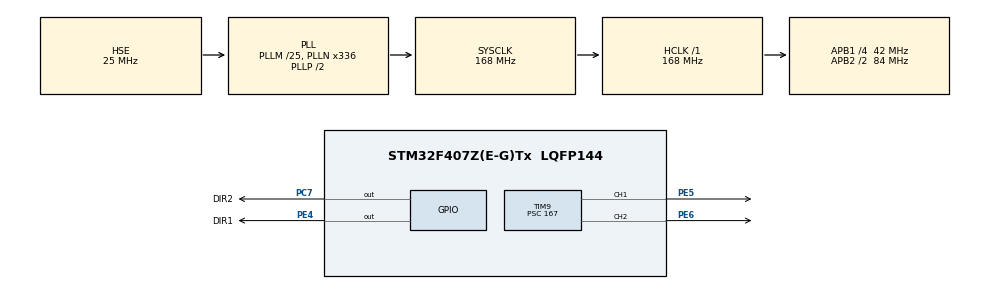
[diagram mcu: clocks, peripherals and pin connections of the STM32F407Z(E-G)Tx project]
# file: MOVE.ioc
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Mcu.Family=STM32F4
Mcu.Name=STM32F407Z(E-G)Tx
Mcu.Package=LQFP144
NVIC.PriorityGroup=NVIC_PRIORITYGROUP_4
PA13.Mode=Serial_Wire
PA13.Signal=SYS_JTMS-SWDIO
PA14.Mode=Serial_Wire
PA14.Signal=SYS_JTCK-SWCLK
PC7.GPIO_Label=DIR2
PC7.Signal=GPIO_Output
PE4.GPIO_Label=DIR1
PE4.Signal=GPIO_Output
PE5.Signal=S_TIM9_CH1
PE6.Signal=S_TIM9_CH2
PH0-OSC_IN.Mode=HSE-External-Oscillator
PH0-OSC_IN.Signal=RCC_OSC_IN
PH1-OSC_OUT.Mode=HSE-External-Oscillator
PH1-OSC_OUT.Signal=RCC_OSC_OUT
ProjectManager.HeapSize=0x200
ProjectManager.StackSize=0x400
ProjectManager.TargetToolchain=MDK-ARM V5.32
RCC.48MHZClocksFreq_Value=84000000
RCC.AHBFreq_Value=168000000
RCC.APB1CLKDivider=RCC_HCLK_DIV4
RCC.APB1Freq_Value=42000000
RCC.APB1TimFreq_Value=84000000
RCC.APB2CLKDivider=RCC_HCLK_DIV2
RCC.APB2Freq_Value=84000000
RCC.APB2TimFreq_Value=168000000
RCC.CortexFreq_Value=168000000
RCC.HCLKFreq_Value=168000000
RCC.HSE_VALUE=25000000
RCC.HSI_VALUE=16000000
RCC.LSE_VALUE=32768
RCC.PLLM=8
RCC.PLLN=168
RCC.SYSCLKFreq_VALUE=168000000
RCC.SYSCLKSource=RCC_SYSCLKSOURCE_PLLCLK
RCC.VCOOutputFreq_Value=336000000
SH.S_TIM9_CH1.0=TIM9_CH1,PWM Generation1 CH1
SH.S_TIM9_CH2.0=TIM9_CH2,PWM Generation2 CH2
TIM9.AutoReloadPreload=TIM_AUTORELOAD_PRELOAD_ENABLE
TIM9.Channel-PWM\ Generation1\ CH1=TIM_CHANNEL_1
TIM9.Channel-PWM\ Generation2\ CH2=TIM_CHANNEL_2
TIM9.Period=999
TIM9.Prescaler=167
TIM9.Pulse-PWM\ Generation1\ CH1=500
TIM9.Pulse-PWM\ Generation2\ CH2=500
VP_TIM9_VS_ClockSourceINT.Mode=Internal
board=custom

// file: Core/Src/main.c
/* USER CODE BEGIN Header */
/**
  ******************************************************************************
  * @file           : main.c
  * @brief          : Main program body —— 按键菜单；图案请改 drawings.c
  ******************************************************************************
  * @attention
  *
  * Copyright (c) 2026 STMicroelectronics.
  * All rights reserved.
  *
  * This software is licensed under terms that can be found in the LICENSE file
  * in the root directory of this software component.
  * If no LICENSE file comes with this software, it is provided AS-IS.
  *
  ******************************************************************************
  */
/* USER CODE END Header */
#include "main.h"
#include "tim.h"
#include "gpio.h"

/* USER CODE BEGIN Includes */
#include "plotter.h"
#include "drawings.h"
/* USER CODE END Includes */

/* USER CODE BEGIN PTD */
typedef void (*DrawingFn)(void);
/* USER CODE END PTD */

/* USER CODE BEGIN PD */

#define KEY_MODE_PORT       GPIOC
#define KEY_MODE_PIN        GPIO_PIN_13
#define KEY_OK_PORT         GPIOA
#define KEY_OK_PIN          GPIO_PIN_0
#define KEY_DEBOUNCE_MS     20

/* 标定模式每次发出的脉冲数（整数好算）。量完毫米后：步距 = 1000 / 实测毫米 */
#define CALIB_PULSES        1000

enum
{
  MODE_JOG_XP = 0,
  MODE_JOG_XN,
  MODE_JOG_YP,
  MODE_JOG_YN,
  MODE_SET_ORIGIN,
  MODE_DRAW_LEAF,
  MODE_CALIB_X,   /* 固定发 CALIB_PULSES 个脉冲，X+ */
  MODE_CALIB_Y,   /* 固定发 CALIB_PULSES 个脉冲，Y+ */
  MODE_COUNT
};

/* USER CODE END PD */

/* USER CODE BEGIN PV */
static uint8_t g_mode = MODE_JOG_XP;
/* USER CODE END PV */

void SystemClock_Config(void);
/* USER CODE BEGIN PFP */
static void Key_Init(void);
static void Buzzer_Beep(uint8_t times);
static uint8_t Key_ReadMode(void);
static uint8_t Key_ReadOk(void);
static uint8_t Key_WaitClick(uint8_t (*read_fn)(void));
static void App_HoldJog(uint8_t axis, uint8_t dir_positive);
static void App_RunDrawing(DrawingFn fn);
static void App_OnOk(void);
/* USER CODE END PFP */

/* USER CODE BEGIN 0 */

static void Buzzer_Beep(uint8_t times)
{
  GPIO_InitTypeDef gpio = {0};
  uint8_t i;

  __HAL_RCC_GPIOG_CLK_ENABLE();
  gpio.Pin = GPIO_PIN_7;
  gpio.Mode = GPIO_MODE_OUTPUT_PP;
  gpio.Pull = GPIO_NOPULL;
  gpio.Speed = GPIO_SPEED_FREQ_LOW;
  HAL_GPIO_Init(GPIOG, &gpio);

  for (i = 0; i < times; i++)
  {
    HAL_GPIO_WritePin(GPIOG, GPIO_PIN_7, GPIO_PIN_SET);
    HAL_Delay(70);
    HAL_GPIO_WritePin(GPIOG, GPIO_PIN_7, GPIO_PIN_RESET);
    HAL_Delay(100);
  }
}

static void Key_Init(void)
{
  GPIO_InitTypeDef gpio = {0};

  __HAL_RCC_GPIOA_CLK_ENABLE();
  __HAL_RCC_GPIOC_CLK_ENABLE();

  gpio.Mode = GPIO_MODE_INPUT;
  gpio.Pull = GPIO_NOPULL;
  gpio.Speed = GPIO_SPEED_FREQ_LOW;
  gpio.Pin = KEY_MODE_PIN;
  HAL_GPIO_Init(KEY_MODE_PORT, &gpio);
  gpio.Pin = KEY_OK_PIN;
  HAL_GPIO_Init(KEY_OK_PORT, &gpio);

  Buzzer_Beep(1);
}

static uint8_t Key_ReadMode(void)
{
  return (HAL_GPIO_ReadPin(KEY_MODE_PORT, KEY_MODE_PIN) == GPIO_PIN_SET) ? 1 : 0;
}

static uint8_t Key_ReadOk(void)
{
  return (HAL_GPIO_ReadPin(KEY_OK_PORT, KEY_OK_PIN) == GPIO_PIN_SET) ? 1 : 0;
}

static uint8_t Key_WaitClick(uint8_t (*read_fn)(void))
{
  if (read_fn() == 0)
  {
    return 0;
  }
  HAL_Delay(KEY_DEBOUNCE_MS);
  if (read_fn() == 0)
  {
    return 0;
  }
  while (read_fn() != 0)
  {
  }
  HAL_Delay(KEY_DEBOUNCE_MS);
  return 1;
}

static void App_HoldJog(uint8_t axis, uint8_t dir_positive)
{
  if (Key_ReadOk() == 0)
  {
    return;
  }
  HAL_Delay(KEY_DEBOUNCE_MS);
  if (Key_ReadOk() == 0)
  {
    return;
  }

  Plotter_JogStart(axis, dir_positive);
  while (Key_ReadOk() != 0)
  {
  }
  Plotter_JogStop(axis, dir_positive);
  HAL_Delay(KEY_DEBOUNCE_MS);
}

/** 统一画图入口：检查原点 → 提示音 → 调用图案函数 */
static void App_RunDrawing(DrawingFn fn)
{
  if (Plotter_IsOriginSet() == 0)
  {
    Buzzer_Beep(3);
    return;
  }
  Buzzer_Beep(2);
  fn();
  Buzzer_Beep(1);
}

static void App_OnOk(void)
{
  switch (g_mode)
  {
    case MODE_JOG_XP: App_HoldJog(0, 1); break;
    case MODE_JOG_XN: App_HoldJog(0, 0); break;
    case MODE_JOG_YP: App_HoldJog(1, 1); break;
    case MODE_JOG_YN: App_HoldJog(1, 0); break;
    case MODE_SET_ORIGIN:
      Plotter_SetOrigin();
      Buzzer_Beep(2);
      break;
    case MODE_DRAW_LEAF:
      App_RunDrawing(Drawing_Leaf);
      break;
    case MODE_CALIB_X:
      /* 发出恰好 1000 个脉冲，用尺子量走了多少 mm → 步距=1000/毫米 */
      Buzzer_Beep(2);
      Plotter_PulseAxis(0, 1, CALIB_PULSES);
      Buzzer_Beep(1);
      break;
    case MODE_CALIB_Y:
      Buzzer_Beep(2);
      Plotter_PulseAxis(1, 1, CALIB_PULSES);
      Buzzer_Beep(1);
      break;
    default:
      break;
  }
}

void HAL_TIM_PeriodElapsedCallback(TIM_HandleTypeDef *htim)
{
  if (htim->Instance == TIM9)
  {
    Plotter_OnTimPeriodElapsed();
  }
}

/* USER CODE END 0 */

int main(void)
{

  HAL_Init();

  SystemClock_Config();

  MX_GPIO_Init();
  MX_TIM9_Init();
  /* USER CODE BEGIN 2 */

  Plotter_Init();
  Key_Init();
  g_mode = MODE_JOG_XP;

  /* USER CODE END 2 */

  while (1)
  {

    /* USER CODE BEGIN 3 */
    if (Key_WaitClick(Key_ReadMode) != 0)
    {
      g_mode++;
      if (g_mode >= MODE_COUNT)
      {
        g_mode = MODE_JOG_XP;
      }
      Buzzer_Beep((uint8_t)(g_mode + 1));
    }

    if (g_mode <= MODE_JOG_YN)
    {
      if (Key_ReadOk() != 0)
      {
        App_OnOk();
      }
    }
    else if (Key_WaitClick(Key_ReadOk) != 0)
    {
      App_OnOk();
    }
  }
  /* USER CODE END 3 */
}

void SystemClock_Config(void)
{
  RCC_OscInitTypeDef RCC_OscInitStruct = {0};
  RCC_ClkInitTypeDef RCC_ClkInitStruct = {0};

  __HAL_RCC_PWR_CLK_ENABLE();
  __HAL_PWR_VOLTAGESCALING_CONFIG(PWR_REGULATOR_VOLTAGE_SCALE1);

  RCC_OscInitStruct.OscillatorType = RCC_OSCILLATORTYPE_HSE;
  RCC_OscInitStruct.HSEState = RCC_HSE_ON;
  RCC_OscInitStruct.PLL.PLLState = RCC_PLL_ON;
  RCC_OscInitStruct.PLL.PLLSource = RCC_PLLSOURCE_HSE;
  RCC_OscInitStruct.PLL.PLLM = 25;
  RCC_OscInitStruct.PLL.PLLN = 336;
  RCC_OscInitStruct.PLL.PLLP = RCC_PLLP_DIV2;
  RCC_OscInitStruct.PLL.PLLQ = 7;
  if (HAL_RCC_OscConfig(&RCC_OscInitStruct) != HAL_OK)
  {
    Error_Handler();
  }

  RCC_ClkInitStruct.ClockType = RCC_CLOCKTYPE_HCLK|RCC_CLOCKTYPE_SYSCLK
                              |RCC_CLOCKTYPE_PCLK1|RCC_CLOCKTYPE_PCLK2;
  RCC_ClkInitStruct.SYSCLKSource = RCC_SYSCLKSOURCE_PLLCLK;
  RCC_ClkInitStruct.AHBCLKDivider = RCC_SYSCLK_DIV1;
  RCC_ClkInitStruct.APB1CLKDivider = RCC_HCLK_DIV4;
  RCC_ClkInitStruct.APB2CLKDivider = RCC_HCLK_DIV2;

  if (HAL_RCC_ClockConfig(&RCC_ClkInitStruct, FLASH_LATENCY_5) != HAL_OK)
  {
    Error_Handler();
  }
}

void Error_Handler(void)
{
  __disable_irq();
  while (1)
  {
  }
}

#ifdef  USE_FULL_ASSERT
void assert_failed(uint8_t *file, uint32_t line)
{
  /* USER CODE BEGIN 6 */
  (void)file;
  (void)line;
  /* USER CODE END 6 */
}
#endif /* USE_FULL_ASSERT */
